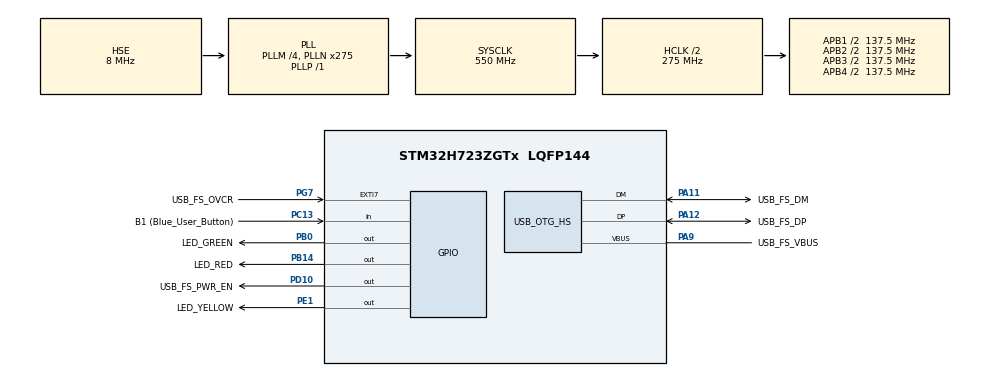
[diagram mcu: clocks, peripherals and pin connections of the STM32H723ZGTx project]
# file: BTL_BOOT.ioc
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Mcu.Family=STM32H7
Mcu.Name=STM32H723ZGTx
Mcu.Package=LQFP144
NVIC.OTG_HS_IRQn=true\:0\:0\:false\:false\:true\:false\:true\:true
NVIC.PriorityGroup=NVIC_PRIORITYGROUP_4
PA1.GPIO_Label=RMII_REF_CLK
PA1.Signal=ETH_REF_CLK
PA10.GPIO_Label=USB_FS_ID
PA10.Signal=USB_OTG_HS_ID
PA11.GPIO_Label=USB_FS_DM
PA11.Mode=Device_Only_FS
PA11.Signal=USB_OTG_HS_DM
PA12.GPIO_Label=USB_FS_DP
PA12.Mode=Device_Only_FS
PA12.Signal=USB_OTG_HS_DP
PA13(JTMS/SWDIO).GPIO_Label=SWDIO
PA13(JTMS/SWDIO).Mode=Trace_Asynchronous_SW
PA13(JTMS/SWDIO).Signal=DEBUG_JTMS-SWDIO
PA14(JTCK/SWCLK).GPIO_Label=SWCLK
PA14(JTCK/SWCLK).Mode=Trace_Asynchronous_SW
PA14(JTCK/SWCLK).Signal=DEBUG_JTCK-SWCLK
PA2.GPIO_Label=RMII_MDIO
PA2.Signal=ETH_MDIO
PA7.GPIO_Label=RMII_CRS_DV
PA7.Signal=ETH_CRS_DV
PA9.GPIO_Label=USB_FS_VBUS
PA9.Mode=Activate_VBUS_FS
PA9.Signal=USB_OTG_HS_VBUS
PB0.GPIO_Label=LED_GREEN
PB0.Signal=GPIO_Output
PB13.GPIO_Label=RMII_TXD1
PB13.Signal=ETH_TXD1
PB14.GPIO_Label=LED_RED
PB14.Signal=GPIO_Output
PB3(JTDO/TRACESWO).GPIO_Label=SWO
PB3(JTDO/TRACESWO).Mode=Trace_Asynchronous_SW
PB3(JTDO/TRACESWO).Signal=DEBUG_JTDO-SWO
PC1.GPIO_Label=RMII_MDC
PC1.Signal=ETH_MDC
PC13.GPIO_Label=B1 (Blue_User_Button)
PC13.Signal=GPIO_Input
PC14-OSC32_IN.Mode=LSE-External-Oscillator
PC14-OSC32_IN.Signal=RCC_OSC32_IN
PC15-OSC32_OUT.Mode=LSE-External-Oscillator
PC15-OSC32_OUT.Signal=RCC_OSC32_OUT
PC4.GPIO_Label=RMII_RXD0
PC4.Signal=ETH_RXD0
PC5.GPIO_Label=RMII_RXD1
PC5.Signal=ETH_RXD1
PD10.GPIO_Label=USB_FS_PWR_EN
PD10.Signal=GPIO_Output
PD8.GPIO_Label=STLK_VCP_RX
PD8.Signal=USART3_TX
PD9.GPIO_Label=STLK_VCP_TX
PD9.Signal=USART3_RX
PE1.GPIO_Label=LED_YELLOW
PE1.Signal=GPIO_Output
PG11.GPIO_Label=RMII_TX_EN
PG11.Signal=ETH_TX_EN
PG13.GPIO_Label=RMII_TXD0
PG13.Signal=ETH_TXD0
PG7.GPIO_Label=USB_FS_OVCR
PG7.Signal=GPXTI7
PH0-OSC_IN.GPIO_Label=MCO
PH0-OSC_IN.Mode=HSE-External-Clock-Source
PH0-OSC_IN.Signal=RCC_OSC_IN
PH1-OSC_OUT.Signal=RCC_OSC_OUT
ProjectManager.HeapSize=0x200
ProjectManager.StackSize=0x400
ProjectManager.TargetToolchain=STM32CubeIDE
RCC.ADCFreq_Value=76000000
RCC.APB1Freq_Value=137500000
RCC.APB2Freq_Value=137500000
RCC.APB3Freq_Value=137500000
RCC.APB4Freq_Value=137500000
RCC.CortexFreq_Value=550000000
RCC.D1PPRE=RCC_APB3_DIV2
RCC.D2PPRE1=RCC_APB1_DIV2
RCC.D2PPRE2=RCC_APB2_DIV2
RCC.D3PPRE=RCC_APB4_DIV2
RCC.DIVM1=4
RCC.DIVM2=1
RCC.DIVN1=275
RCC.DIVN2=19
RCC.DIVP1=1
RCC.DIVQ1=4
RCC.HCLKFreq_Value=275000000
RCC.HPRE=RCC_HCLK_DIV2
RCC.HSE_VALUE=8000000
RCC.PLLFRACN=0
RCC.PLLSourceVirtual=RCC_PLLSOURCE_HSE
RCC.SYSCLKFreq_VALUE=550000000
RCC.SYSCLKSource=RCC_SYSCLKSOURCE_PLLCLK
RCC.USBCLockSelection=RCC_USBCLKSOURCE_HSI48
RCC.USBFreq_Value=48000000
USB_DEVICE.CLASS_NAME_HS=DFU
USB_DEVICE.MANUFACTURER_STRING=Hogehoge
USB_DEVICE.PID_DFU_HS=0x0001
USB_DEVICE.PRODUCT_STRING_DFU_HS=Original DFU bootloader
USB_DEVICE.USBD_DFU_APP_DEFAULT_ADD=0x08020000
USB_DEVICE.USBD_DFU_MEDIA=@Internal Flash   /0x08000000/01*0128Ka,01*0128Kg,01*0128Kg,01*0128Kg,01*0128Kg,01*0128Kg,01*0128Kg,01*0128Kg
USB_DEVICE.USBD_DFU_XFER_SIZE=4096
USB_DEVICE.VID=0x1209
USB_DEVICE.VirtualMode=Dfu
USB_DEVICE.VirtualModeHS=Dfu_HS
USB_OTG_HS.VirtualMode-Device_Only_FS=Device_Only_FS
VP_USB_DEVICE_VS_USB_DEVICE_DFU_HS.Mode=DFU_HS
board=NUCLEO-H723ZG

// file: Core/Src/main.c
/* USER CODE BEGIN Header */
/**
  ******************************************************************************
  * @file           : main.c
  * @brief          : Main program body
  ******************************************************************************
  * @attention
  *
  * Copyright (c) 2022 STMicroelectronics.
  * All rights reserved.
  *
  * This software is licensed under terms that can be found in the LICENSE file
  * in the root directory of this software component.
  * If no LICENSE file comes with this software, it is provided AS-IS.
  *
  ******************************************************************************
  */
/* USER CODE END Header */
#include "main.h"
#include "usb_device.h"

void SystemClock_Config(void);
static void MX_GPIO_Init(void);

/* USER CODE BEGIN 0 */

#define FLASH_APP_ADDR (0x08020000)

typedef void (*pFunction)(void);

volatile uint32_t jumpAddress;
volatile pFunction jumpToApplication;

void jumpUserApp()
{
	jumpAddress = *(uint32_t *) (FLASH_APP_ADDR + 4);
	jumpToApplication = (pFunction) jumpAddress;

	HAL_RCC_DeInit();
	HAL_DeInit();

	__set_MSP(*(uint32_t*)FLASH_APP_ADDR);
	jumpToApplication();
}

/* USER CODE END 0 */

int main(void)
{

  /* MCU Configuration--------------------------------------------------------*/

  /* Reset of all peripherals, Initializes the Flash interface and the Systick. */
  HAL_Init();

  /* Configure the system clock */
  SystemClock_Config();

  /* Initialize all configured peripherals */
  MX_GPIO_Init();
  MX_USB_DEVICE_Init();
  /* USER CODE BEGIN 2 */
  if( GPIO_PIN_RESET == HAL_GPIO_ReadPin(GPIOC, GPIO_PIN_13) )
  {
	  jumpUserApp();
  }

  /* USER CODE END 2 */

  /* Infinite loop */
  while (1)
  {

    /* USER CODE BEGIN 3 */
	  HAL_GPIO_TogglePin(LED_GREEN_GPIO_Port, LED_GREEN_Pin);
	  HAL_Delay(250);
  }
  /* USER CODE END 3 */
}

void SystemClock_Config(void)
{
  RCC_OscInitTypeDef RCC_OscInitStruct = {0};
  RCC_ClkInitTypeDef RCC_ClkInitStruct = {0};

  /** Supply configuration update enable
  */
  HAL_PWREx_ConfigSupply(PWR_LDO_SUPPLY);

  /** Configure the main internal regulator output voltage
  */
  __HAL_PWR_VOLTAGESCALING_CONFIG(PWR_REGULATOR_VOLTAGE_SCALE0);

  while(!__HAL_PWR_GET_FLAG(PWR_FLAG_VOSRDY)) {}

  /** Initializes the RCC Oscillators according to the specified parameters
  * in the RCC_OscInitTypeDef structure.
  */
  RCC_OscInitStruct.OscillatorType = RCC_OSCILLATORTYPE_HSI48|RCC_OSCILLATORTYPE_HSE;
  RCC_OscInitStruct.HSEState = RCC_HSE_BYPASS;
  RCC_OscInitStruct.HSI48State = RCC_HSI48_ON;
  RCC_OscInitStruct.PLL.PLLState = RCC_PLL_ON;
  RCC_OscInitStruct.PLL.PLLSource = RCC_PLLSOURCE_HSE;
  RCC_OscInitStruct.PLL.PLLM = 4;
  RCC_OscInitStruct.PLL.PLLN = 275;
  RCC_OscInitStruct.PLL.PLLP = 1;
  RCC_OscInitStruct.PLL.PLLQ = 4;
  RCC_OscInitStruct.PLL.PLLR = 2;
  RCC_OscInitStruct.PLL.PLLRGE = RCC_PLL1VCIRANGE_1;
  RCC_OscInitStruct.PLL.PLLVCOSEL = RCC_PLL1VCOWIDE;
  RCC_OscInitStruct.PLL.PLLFRACN = 0;
  if (HAL_RCC_OscConfig(&RCC_OscInitStruct) != HAL_OK)
  {
    Error_Handler();
  }

  /** Initializes the CPU, AHB and APB buses clocks
  */
  RCC_ClkInitStruct.ClockType = RCC_CLOCKTYPE_HCLK|RCC_CLOCKTYPE_SYSCLK
                              |RCC_CLOCKTYPE_PCLK1|RCC_CLOCKTYPE_PCLK2
                              |RCC_CLOCKTYPE_D3PCLK1|RCC_CLOCKTYPE_D1PCLK1;
  RCC_ClkInitStruct.SYSCLKSource = RCC_SYSCLKSOURCE_PLLCLK;
  RCC_ClkInitStruct.SYSCLKDivider = RCC_SYSCLK_DIV1;
  RCC_ClkInitStruct.AHBCLKDivider = RCC_HCLK_DIV2;
  RCC_ClkInitStruct.APB3CLKDivider = RCC_APB3_DIV2;
  RCC_ClkInitStruct.APB1CLKDivider = RCC_APB1_DIV2;
  RCC_ClkInitStruct.APB2CLKDivider = RCC_APB2_DIV2;
  RCC_ClkInitStruct.APB4CLKDivider = RCC_APB4_DIV2;

  if (HAL_RCC_ClockConfig(&RCC_ClkInitStruct, FLASH_LATENCY_3) != HAL_OK)
  {
    Error_Handler();
  }
}

static void MX_GPIO_Init(void)
{
  GPIO_InitTypeDef GPIO_InitStruct = {0};

  /* GPIO Ports Clock Enable */
  __HAL_RCC_GPIOC_CLK_ENABLE();
  __HAL_RCC_GPIOH_CLK_ENABLE();
  __HAL_RCC_GPIOA_CLK_ENABLE();
  __HAL_RCC_GPIOB_CLK_ENABLE();
  __HAL_RCC_GPIOD_CLK_ENABLE();
  __HAL_RCC_GPIOG_CLK_ENABLE();
  __HAL_RCC_GPIOE_CLK_ENABLE();

  /*Configure GPIO pin Output Level */
  HAL_GPIO_WritePin(GPIOB, LED_GREEN_Pin|LED_RED_Pin, GPIO_PIN_RESET);

  /*Configure GPIO pin Output Level */
  HAL_GPIO_WritePin(USB_FS_PWR_EN_GPIO_Port, USB_FS_PWR_EN_Pin, GPIO_PIN_RESET);

  /*Configure GPIO pin Output Level */
  HAL_GPIO_WritePin(LED_YELLOW_GPIO_Port, LED_YELLOW_Pin, GPIO_PIN_RESET);

  /*Configure GPIO pin : B1_Pin */
  GPIO_InitStruct.Pin = B1_Pin;
  GPIO_InitStruct.Mode = GPIO_MODE_INPUT;
  GPIO_InitStruct.Pull = GPIO_NOPULL;
  HAL_GPIO_Init(B1_GPIO_Port, &GPIO_InitStruct);

  /*Configure GPIO pins : RMII_MDC_Pin RMII_RXD0_Pin RMII_RXD1_Pin */
  GPIO_InitStruct.Pin = RMII_MDC_Pin|RMII_RXD0_Pin|RMII_RXD1_Pin;
  GPIO_InitStruct.Mode = GPIO_MODE_AF_PP;
  GPIO_InitStruct.Pull = GPIO_NOPULL;
  GPIO_InitStruct.Speed = GPIO_SPEED_FREQ_LOW;
  GPIO_InitStruct.Alternate = GPIO_AF11_ETH;
  HAL_GPIO_Init(GPIOC, &GPIO_InitStruct);

  /*Configure GPIO pins : RMII_REF_CLK_Pin RMII_MDIO_Pin RMII_CRS_DV_Pin */
  GPIO_InitStruct.Pin = RMII_REF_CLK_Pin|RMII_MDIO_Pin|RMII_CRS_DV_Pin;
  GPIO_InitStruct.Mode = GPIO_MODE_AF_PP;
  GPIO_InitStruct.Pull = GPIO_NOPULL;
  GPIO_InitStruct.Speed = GPIO_SPEED_FREQ_LOW;
  GPIO_InitStruct.Alternate = GPIO_AF11_ETH;
  HAL_GPIO_Init(GPIOA, &GPIO_InitStruct);

  /*Configure GPIO pins : LED_GREEN_Pin LED_RED_Pin */
  GPIO_InitStruct.Pin = LED_GREEN_Pin|LED_RED_Pin;
  GPIO_InitStruct.Mode = GPIO_MODE_OUTPUT_PP;
  GPIO_InitStruct.Pull = GPIO_NOPULL;
  GPIO_InitStruct.Speed = GPIO_SPEED_FREQ_LOW;
  HAL_GPIO_Init(GPIOB, &GPIO_InitStruct);

  /*Configure GPIO pin : RMII_TXD1_Pin */
  GPIO_InitStruct.Pin = RMII_TXD1_Pin;
  GPIO_InitStruct.Mode = GPIO_MODE_AF_PP;
  GPIO_InitStruct.Pull = GPIO_NOPULL;
  GPIO_InitStruct.Speed = GPIO_SPEED_FREQ_LOW;
  GPIO_InitStruct.Alternate = GPIO_AF11_ETH;
  HAL_GPIO_Init(RMII_TXD1_GPIO_Port, &GPIO_InitStruct);

  /*Configure GPIO pins : STLK_VCP_RX_Pin STLK_VCP_TX_Pin */
  GPIO_InitStruct.Pin = STLK_VCP_RX_Pin|STLK_VCP_TX_Pin;
  GPIO_InitStruct.Mode = GPIO_MODE_AF_PP;
  GPIO_InitStruct.Pull = GPIO_NOPULL;
  GPIO_InitStruct.Speed = GPIO_SPEED_FREQ_LOW;
  GPIO_InitStruct.Alternate = GPIO_AF7_USART3;
  HAL_GPIO_Init(GPIOD, &GPIO_InitStruct);

  /*Configure GPIO pin : USB_FS_PWR_EN_Pin */
  GPIO_InitStruct.Pin = USB_FS_PWR_EN_Pin;
  GPIO_InitStruct.Mode = GPIO_MODE_OUTPUT_PP;
  GPIO_InitStruct.Pull = GPIO_NOPULL;
  GPIO_InitStruct.Speed = GPIO_SPEED_FREQ_LOW;
  HAL_GPIO_Init(USB_FS_PWR_EN_GPIO_Port, &GPIO_InitStruct);

  /*Configure GPIO pin : USB_FS_OVCR_Pin */
  GPIO_InitStruct.Pin = USB_FS_OVCR_Pin;
  GPIO_InitStruct.Mode = GPIO_MODE_IT_RISING;
  GPIO_InitStruct.Pull = GPIO_NOPULL;
  HAL_GPIO_Init(USB_FS_OVCR_GPIO_Port, &GPIO_InitStruct);

  /*Configure GPIO pins : RMII_TX_EN_Pin RMII_TXD0_Pin */
  GPIO_InitStruct.Pin = RMII_TX_EN_Pin|RMII_TXD0_Pin;
  GPIO_InitStruct.Mode = GPIO_MODE_AF_PP;
  GPIO_InitStruct.Pull = GPIO_NOPULL;
  GPIO_InitStruct.Speed = GPIO_SPEED_FREQ_LOW;
  GPIO_InitStruct.Alternate = GPIO_AF11_ETH;
  HAL_GPIO_Init(GPIOG, &GPIO_InitStruct);

  /*Configure GPIO pin : LED_YELLOW_Pin */
  GPIO_InitStruct.Pin = LED_YELLOW_Pin;
  GPIO_InitStruct.Mode = GPIO_MODE_OUTPUT_PP;
  GPIO_InitStruct.Pull = GPIO_NOPULL;
  GPIO_InitStruct.Speed = GPIO_SPEED_FREQ_LOW;
  HAL_GPIO_Init(LED_YELLOW_GPIO_Port, &GPIO_InitStruct);

}

void Error_Handler(void)
{
  __disable_irq();
  while (1)
  {
  }
}
